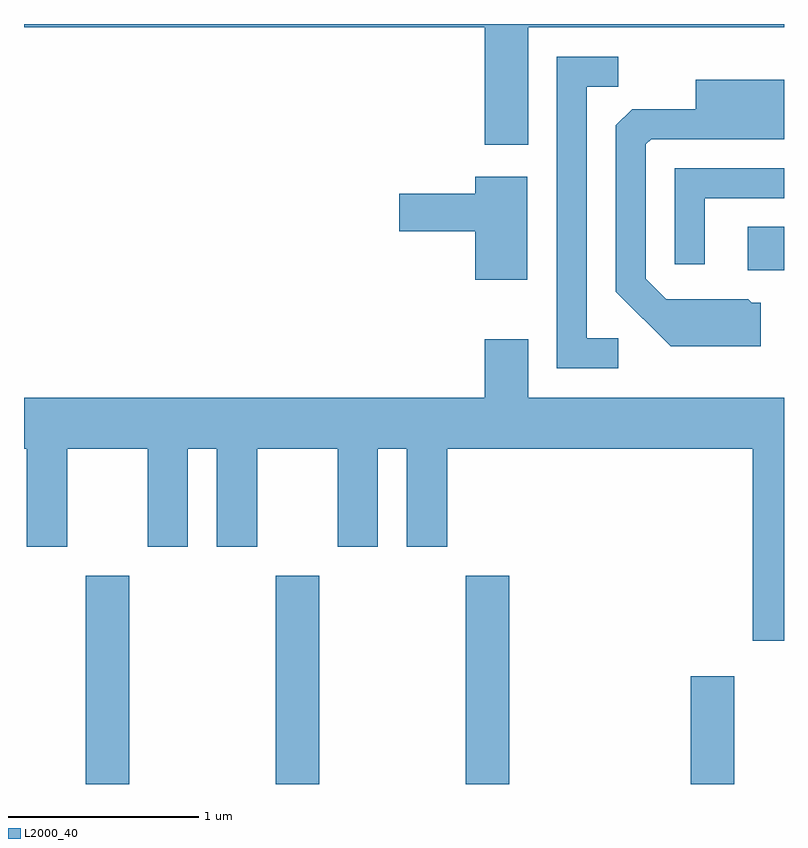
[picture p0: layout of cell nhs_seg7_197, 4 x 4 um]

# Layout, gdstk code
import gdstk
lib = gdstk.Library(unit=1e-6, precision=1e-09)
def R(c, l, rs):  # rectangles x0, y0, x1, y1
    for r in rs: c.add(gdstk.rectangle(r[:2], r[2:], *l))
def A(c, l, x, y, w, h, nx, ny, dx, dy):  # array of equal rectangles
    R(c, l, [(x+i*dx, y+j*dy, x+i*dx+w, y+j*dy+h) for i in range(nx) for j in range(ny)])
def P(c, l, *ps):  # polygons
    for p in ps: c.add(gdstk.Polygon(p, *l))
L2000_40 = (2000, 40)

nhs_seg7_197 = lib.new_cell('nhs_seg7_197')
A(nhs_seg7_197, L2000_40, 189.936, 1790.252, 0.228, 1.097, 3, 1, 1, 0)
R(nhs_seg7_197, L2000_40, [(193.121,1790.252,193.349,1790.819), (193.421,1792.956,193.611,1793.184)])
P(nhs_seg7_197, L2000_40, [(192.264,1794.236),(193.611,1794.236),(193.611,1794.252),(189.611,1794.252),(189.611,1794.236),(192.036,1794.236),(192.036,1793.616),(192.264,1793.616)],
  [(192.738,1792.599),(192.574,1792.599),(192.574,1793.921),(192.738,1793.921),(192.738,1794.079),(192.416,1794.079),(192.416,1792.441),(192.738,1792.441)],
  [(193.489,1792.784),(193.442,1792.784),(193.422,1792.804),(192.992,1792.804),(192.884,1792.912),(192.884,1793.619),(192.912,1793.646),(193.611,1793.646),(193.611,1793.959),(193.146,1793.959),(193.146,1793.804),(192.812,1793.804),(192.726,1793.719),(192.726,1792.844),(193.014,1792.556),(193.489,1792.556)],
  [(193.194,1793.336),(193.611,1793.336),(193.611,1793.494),(193.036,1793.494),(193.036,1792.988),(193.194,1792.988)],
  [(192.259,1793.449),(191.986,1793.449),(191.986,1793.359),(191.586,1793.359),(191.586,1793.161),(191.986,1793.161),(191.986,1792.906),(192.259,1792.906)],
  [(193.611,1792.284),(192.264,1792.284),(192.264,1792.594),(192.036,1792.594),(192.036,1792.284),(189.611,1792.284),(189.611,1792.016),(189.626,1792.016),(189.626,1791.501),(189.839,1791.501),(189.839,1792.016),(190.261,1792.016),(190.261,1791.501),(190.474,1791.501),(190.474,1792.016),(190.626,1792.016),(190.626,1791.501),(190.839,1791.501),(190.839,1792.016),(191.261,1792.016),(191.261,1791.501),(191.474,1791.501),(191.474,1792.016),(191.626,1792.016),(191.626,1791.501),(191.839,1791.501),(191.839,1792.016),(193.446,1792.016),(193.446,1791.006),(193.611,1791.006)])

lib.write_gds('nhs_seg7_197.gds')
